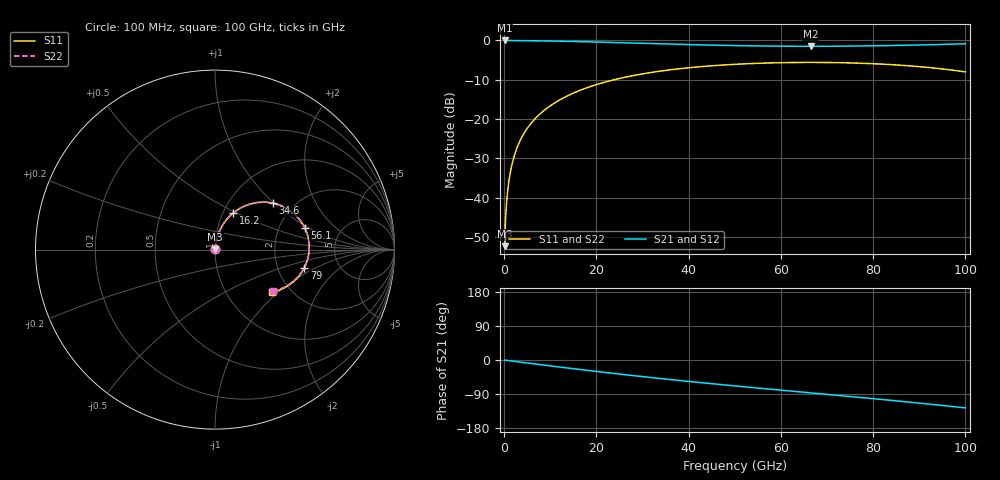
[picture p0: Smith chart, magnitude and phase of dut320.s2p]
! Touchstone file exported from HFSS 2026.1.0
!  File:  C:/ffzhzh/LocalFiles/Ansys_Project_Files/temp_train_RDL_320_1783502693_31944.aedt
!  Generated:  05:26:13 PM Jul  8, 2026
!  Design:  RDL
!  Project:  temp_train_RDL_320_1783502693_31944
! Variables:
!  h_bsmrdl = 2um
!  h_ox = 20um
!  h_rdl = 5um
!  h_sub = 80um
!  h_tmrdl = 4.08um
!  h_tsv = 80um
!  h_via = 3um
!  l_bsmrdl = 300um
!  l_sub = 823.91um
!  l_tmrdl = 423.91um
!  m_sub = 200um
!  pitch = 50.86um
!  r_tsv = 6um
!  s_tmrdl = 10um
!  w_bsmrdl = 18um
!  w_sub = 500um
!  w_tmrdl = 24.28um
!  x_tsv_center1 = 436.05um
!  x_tsv_center2 = 754.05um
!  x_tsv_center3 = 1202.24um
!  x_tsv_center4 = 1520.24um
!  x_tsv_center5 = 1968.43um
!  x_tsv_center6 = 2286.43um
# GHz S MA R 50.000000
! Terminal data exported
! Port[1] = TM_RDL1_1_T1
! Port[2] = TM_RDL1_1_T2
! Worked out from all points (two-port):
!   1000 points, 100 MHz to 100 GHz, reference 50 ohm
!   highest |S21| = -0.01 dB at 100 MHz (marker M1); lowest = -1.5 dB at 66.5 GHz (marker M2)
!   |S21| within 3 dB of the highest: start of sweep to end of sweep
!   lowest |S11| = -52.3 dB at 100 MHz (marker M3), VSWR 1.00, Z = 50.2 + j0.171 ohm
!   |S11| at or under -10 dB: start of sweep to 23.84 GHz
!   |S22| runs from -52.3 to -5.6 dB; largest |S21 - S12| = 1.5e-14
!   S11 on the Smith chart (normalised r, x): 100 MHz: 1.00, +0.00; 16.2 GHz: 1.12, +0.48; 34.6 GHz: 1.57, +0.98; 56.1 GHz: 2.77, +0.92; 79 GHz: 2.83, -0.77; 100 GHz: 1.62, -0.91
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0.1  0.002421 44.9  0.9983 -0.2  0.9983 -0.2  0.002421 44.9
! Gamma 0 0 0 0
! Port Impedance 50 0 50 0
0.8  0.01278 78.9  0.9977 -1.3  0.9977 -1.3  0.01278 78.9
1.1  0.01733 80.8  0.9976 -1.8  0.9976 -1.8  0.01733 80.8
1.4  0.02191 81.6  0.9974 -2.2  0.9974 -2.2  0.02191 81.6
1.9  0.02955 82.1  0.9971 -3.0  0.9971 -3.0  0.02955 82.1
2.4  0.03716 82.1  0.9966 -3.8  0.9966 -3.8  0.03716 82.1
3.9  0.05978 80.6  0.9949 -6.2  0.9949 -6.2  0.05978 80.7
5.9  0.08925 78.0  0.9918 -9.3  0.9918 -9.3  0.08925 78.0
8.6  0.1278 74.2  0.9865 -13.4  0.9865 -13.4  0.1278 74.2
12  0.1745 69.4  0.9783 -18.5  0.9783 -18.5  0.1745 69.4
16.2  0.2287 63.4  0.9662 -24.7  0.9662 -24.7  0.2287 63.5
16.8  0.2361 62.6  0.9643 -25.6  0.9643 -25.6  0.2361 62.6
24.2  0.3199 52.4  0.9391 -36.1  0.9391 -36.1  0.3199 52.5
33.4  0.4033 40.4  0.9061 -48.3  0.9061 -48.3  0.4032 40.6
34.6  0.4124 38.9  0.9019 -49.8  0.9019 -49.8  0.4123 39.1
50.1  0.4968 20.5  0.8586 -68.5  0.8586 -68.5  0.4967 20.7
56.1  0.514 13.8  0.8485 -75.3  0.8485 -75.3  0.5139 14.1
66.5  0.5253 2.4  0.8417 -86.8  0.8417 -86.8  0.5252 2.7
66.7  0.5253 2.1  0.8417 -87.1  0.8417 -87.1  0.5251 2.5
79  0.5082 -11.5  0.8514 -100.8  0.8514 -100.8  0.5081 -11.0
83.4  0.4939 -16.5  0.8593 -105.9  0.8593 -105.9  0.4938 -16.0
100  0.3974 -36.6  0.9054 -126.3  0.9054 -126.3  0.3972 -35.6
